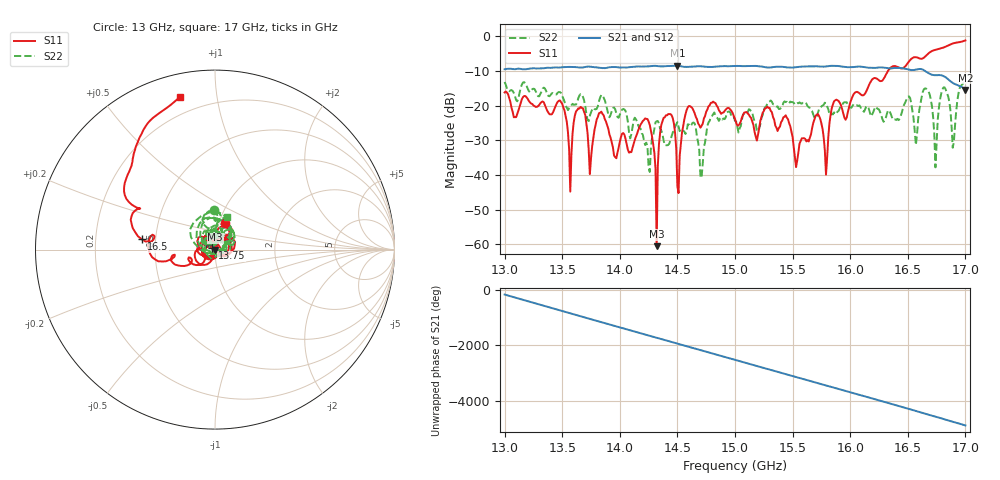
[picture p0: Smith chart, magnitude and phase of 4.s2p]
!Keysight Technologies,P9374A,MY57211807,A.19.30.04
!Date: Friday, May 01, 2026 14:47:19
!Correction: S11(C  2-Port  )
!S21(C  2-Port  )
!S12(C  2-Port  )
!S22(C  2-Port  )
!S2P File: Measurements: S11, S21, S12, S22:
# Hz S  RI  R 50
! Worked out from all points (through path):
!   401 points, 13 GHz to 17 GHz, reference 50 ohm
!   highest |S21| = -8.46 dB at 14.5 GHz (marker M1); lowest = -15.4 dB at 17 GHz (marker M2)
!   lowest |S11| = -60.5 dB at 14.32 GHz (marker M3), VSWR 1.00, Z = 50.1 - j0.0467 ohm
!   |S11| at or under -10 dB: start of sweep to 16.33 GHz
!   |S22| runs from -40.8 to -13.1 dB; largest |S21 - S12| = 0.0056
!   S11 on the Smith chart (normalised r, x): 13 GHz: 1.07, +0.32; 13.75 GHz: 0.97, +0.02; 16.5 GHz: 0.42, +0.06; 17 GHz: 0.11, +0.79
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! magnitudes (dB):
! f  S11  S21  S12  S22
! 13 GHz  -16.2  -9.5  -9.5  -13.1
! 13.48 GHz  -18.5  -9.0  -9.0  -16.1
! 13.57 GHz  -44.8  -8.8  -8.8  -20.4
! 13.67 GHz  -20.7  -9.0  -9.0  -16.7
! 13.75 GHz  -35.2  -8.7  -8.7  -21.9
! 13.83 GHz  -22.0  -9.1  -9.1  -17.5
! 13.96 GHz  -34.8  -8.8  -8.8  -21.0
! 14.23 GHz  -23.8  -8.7  -8.6  -30.7
! 14.32 GHz  -60.5  -8.5  -8.5  -24.5
! 14.34 GHz  -31.1  -8.6  -8.6  -25.1
! 14.43 GHz  -22.4  -8.6  -8.5  -30.9
! 14.5 GHz  -43.2  -8.5  -8.5  -24.7
! 14.6 GHz  -20.1  -8.8  -8.8  -25.4
! 14.71 GHz  -25.8  -8.6  -8.6  -40.6
! 15 GHz  -23.8  -8.5  -8.5  -24.3
! 15.67 GHz  -26.3  -8.7  -8.6  -21.6
! 16.34 GHz  -9.4  -9.2  -9.2  -21.5
! 16.5 GHz  -7.7  -9.5  -9.5  -17.5
! 16.57 GHz  -6.0  -9.6  -9.6  -31.3
! 16.67 GHz  -5.2  -10.4  -10.4  -15.5
! 16.74 GHz  -3.9  -11.2  -11.2  -37.8
! 17 GHz  -1.2  -15.4  -15.4  -14.3
